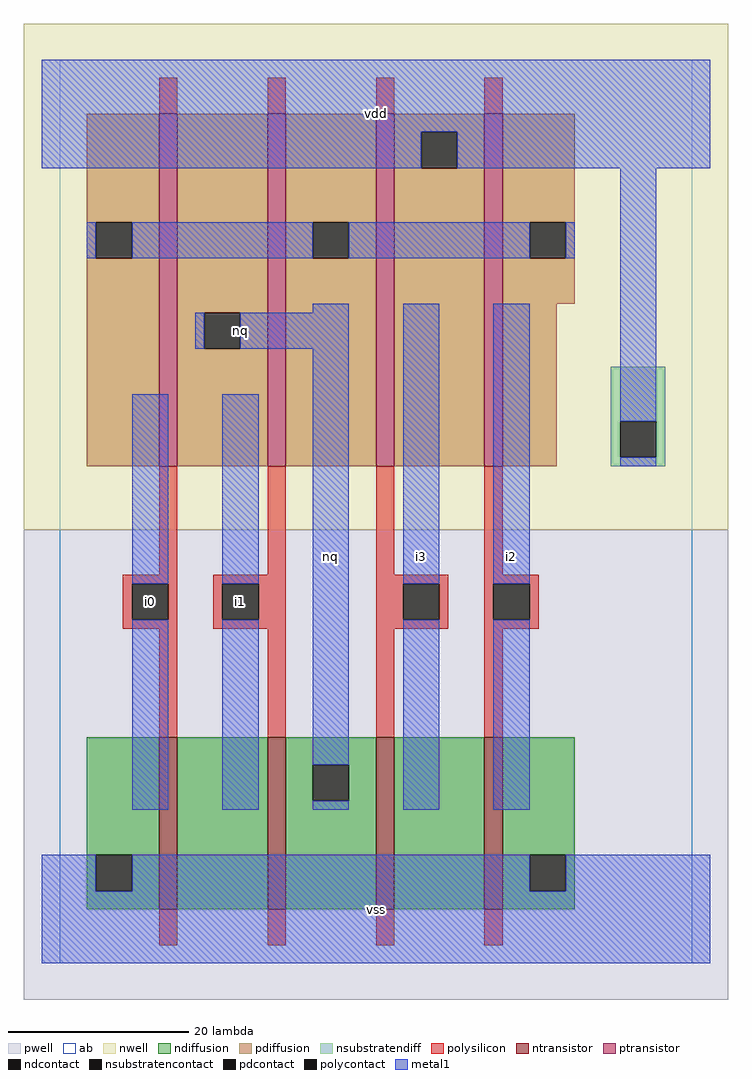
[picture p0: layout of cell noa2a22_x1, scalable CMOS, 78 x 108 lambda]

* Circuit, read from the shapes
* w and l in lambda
.subckt noa2a22_x1 i0 i1 i2 i3 nq vdd vss
M1 n1 i0 vss VSUBS nfet w=19 l=2
M2 nq i1 n1 VSUBS nfet w=19 l=2
M3 n2 i3 nq VSUBS nfet w=19 l=2
M4 vss i2 n2 VSUBS nfet w=19 l=2
M5 nq i0 n3 vdd pfet w=39 l=2
M6 n3 i1 nq vdd pfet w=39 l=2
M7 vdd i3 n3 vdd pfet w=39 l=2
M8 n3 i2 vdd vdd pfet w=39 l=2
.ends

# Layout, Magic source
magic
tech scmos
<< ab >>
rect 0 0 70 100
<< pwell >>
rect -4 -4 74 48
<< nwell >>
rect -4 48 74 104
<< polysilicon >>
rect 11 94 13 98
rect 23 94 25 98
rect 35 94 37 98
rect 47 94 49 98
rect 11 43 13 55
rect 23 43 25 55
rect 7 42 13 43
rect 7 38 8 42
rect 12 38 13 42
rect 7 37 13 38
rect 17 42 25 43
rect 17 38 18 42
rect 22 38 25 42
rect 17 37 25 38
rect 11 25 13 37
rect 23 25 25 37
rect 35 43 37 55
rect 47 43 49 55
rect 35 42 43 43
rect 35 38 38 42
rect 42 38 43 42
rect 35 37 43 38
rect 47 42 53 43
rect 47 38 48 42
rect 52 38 53 42
rect 47 37 53 38
rect 35 25 37 37
rect 47 25 49 37
rect 11 2 13 6
rect 23 2 25 6
rect 35 2 37 6
rect 47 2 49 6
<< ndiffusion >>
rect 3 12 11 25
rect 3 8 4 12
rect 8 8 11 12
rect 3 6 11 8
rect 13 6 23 25
rect 25 22 35 25
rect 25 18 28 22
rect 32 18 35 22
rect 25 6 35 18
rect 37 6 47 25
rect 49 12 57 25
rect 49 8 52 12
rect 56 8 57 12
rect 49 6 57 8
<< pdiffusion >>
rect 3 82 11 94
rect 3 78 4 82
rect 8 78 11 82
rect 3 55 11 78
rect 13 72 23 94
rect 13 68 16 72
rect 20 68 23 72
rect 13 55 23 68
rect 25 82 35 94
rect 25 78 28 82
rect 32 78 35 82
rect 25 55 35 78
rect 37 92 47 94
rect 37 88 40 92
rect 44 88 47 92
rect 37 55 47 88
rect 49 82 57 94
rect 49 78 52 82
rect 56 78 57 82
rect 49 73 57 78
rect 49 55 55 73
<< metal1 >>
rect -2 92 72 100
rect -2 88 40 92
rect 44 88 72 92
rect 3 78 4 82
rect 8 78 28 82
rect 32 78 52 82
rect 56 78 57 82
rect 28 72 32 73
rect 15 68 16 72
rect 20 68 32 72
rect 8 42 12 63
rect 8 17 12 38
rect 18 42 22 63
rect 18 17 22 38
rect 28 22 32 68
rect 28 17 32 18
rect 38 42 42 73
rect 38 17 42 38
rect 48 42 52 73
rect 62 60 66 88
rect 62 55 66 56
rect 48 17 52 38
rect -2 8 4 12
rect 8 8 52 12
rect 56 8 72 12
rect -2 0 72 8
<< ntransistor >>
rect 11 6 13 25
rect 23 6 25 25
rect 35 6 37 25
rect 47 6 49 25
<< ptransistor >>
rect 11 55 13 94
rect 23 55 25 94
rect 35 55 37 94
rect 47 55 49 94
<< polycontact >>
rect 8 38 12 42
rect 18 38 22 42
rect 38 38 42 42
rect 48 38 52 42
<< ndcontact >>
rect 4 8 8 12
rect 28 18 32 22
rect 52 8 56 12
<< pdcontact >>
rect 4 78 8 82
rect 16 68 20 72
rect 28 78 32 82
rect 40 88 44 92
rect 52 78 56 82
<< nsubstratencontact >>
rect 62 56 66 60
<< nsubstratendiff >>
rect 61 60 67 66
rect 61 56 62 60
rect 66 56 67 60
rect 61 55 67 56
<< labels >>
rlabel polycontact 10 40 10 40 6 i0
rlabel polycontact 20 40 20 40 6 i1
rlabel metal1 30 45 30 45 6 nq
rlabel metal1 20 70 20 70 6 nq
rlabel metal1 35 6 35 6 6 vss
rlabel metal1 50 45 50 45 6 i2
rlabel metal1 40 45 40 45 6 i3
rlabel metal1 35 94 35 94 6 vdd
<< end >>
